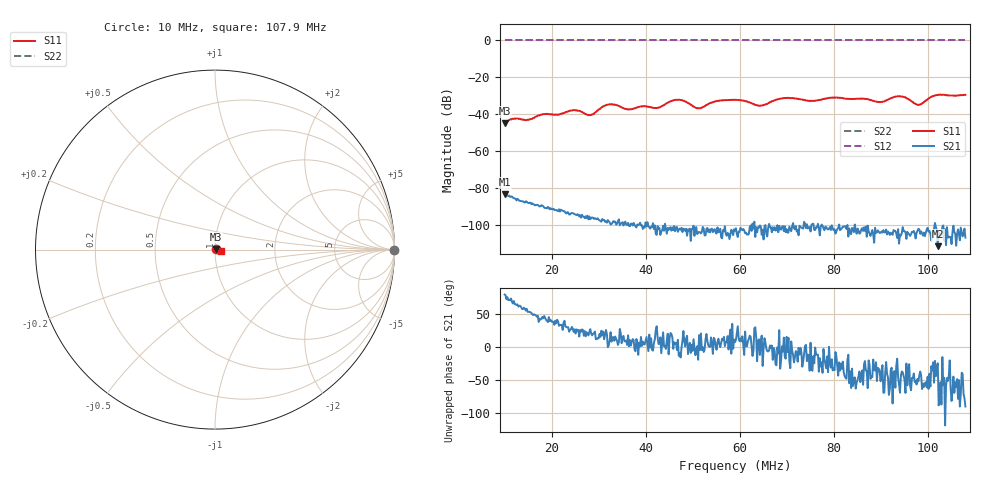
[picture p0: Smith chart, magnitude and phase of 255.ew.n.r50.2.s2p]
! Anritsu VNA Master:  Model: MS2036C/10/77
! SN:  1601066
! /card0/usr/255.ew.n.r50.2.s2p
! Existing Calibration Information:
! TYPE:  Current Settings,  Active Cal Settings
! TIME:  12/17/2017 06:54:16 PM,  12/17/2017 06:38:14 PM
! INTERNAL TEMP:  42.8 C,  43.8 C
! # POINTS:  501,  501
! START FREQ:  10.000 MHz,  10.000 MHz
! STOP FREQ:  107.903 125 MHz,  107.903 125 MHz
! SOURCE POWER:  High,  High
! IFBW:  100 Hz,  100 Hz
! AVG FACTOR:  1 ,  1
! REF PLANE 1:  0 mm,  0 mm
! REF PLANE 2:  0 mm,  0 mm
! CAL TYPE:  Full S11,  Full S11
! CAL METHOD:  SOLT,  SOLT
! CAL LINE TYPE:  Coax,  Coax
! DUT PORT 1:  N-Conn(F),  N-Conn(F)
! DUT PORT 2:  K-Conn(F),  K-Conn(F)
! CAL STATUS:  OK: Accuracy High,  --
# GHZ S DB R 50.0
! FREQ.GHZ  S11DB  S11A  S21DB  S21A  S12DB  S12A  S22DB  S22A
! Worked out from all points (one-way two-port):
!   501 points, 10 MHz to 107.9 MHz, reference 50 ohm
!   highest |S21| = -83.13 dB at 10 MHz (marker M1); lowest = -111.2 dB at 102 MHz (marker M2)
!   lowest |S11| = -44.8 dB at 10 MHz (marker M3), VSWR 1.01, Z = 50.4 + j0.396 ohm
!   |S11| at or under -10 dB: start of sweep to end of sweep
!   |S22| runs from 0.0 to 0.0 dB; largest |S21 - S12| = 1
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0.01  -44.79 42.9  -83.13 79.8  0.00 0.0  0.00 0.0
0.01841967  -39.82 51.3  -90.44 47.1  0.00 0.0  0.00 0.0
0.02468547  -37.65 52.0  -93.67 23.0  0.00 0.0  0.00 0.0
0.02644772  -38.71 57.6  -94.25 26.8  0.00 0.0  0.00 0.0
0.02840579  -40.23 39.2  -95.86 20.4  0.00 0.0  0.00 0.0
0.03251772  -34.51 43.1  -99.51 22.6  0.00 0.0  0.00 0.0
0.03623804  -37.25 46.5  -98.62 17.8  0.00 0.0  0.00 0.0
0.04269964  -36.28 29.2  -101.99 4.6  0.00 0.0  0.00 0.0
0.04641996  -32.13 34.1  -101.08 6.6  0.00 0.0  0.00 0.0
0.05131512  -36.61 33.6  -103.51 18.1  0.00 0.0  0.00 0.0
0.05503544  -32.81 21.8  -104.41 -4.2  0.00 0.0  0.00 0.0
0.05914737  -32.12 31.4  -101.55 10.8  0.00 0.0  0.00 0.0
0.06423833  -35.32 24.4  -100.03 -11.9  0.00 0.0  0.00 0.0
0.06972091  -31.08 15.2  -103.67 -17.8  0.00 0.0  0.00 0.0
0.07539929  -32.72 15.2  -99.22 -36.0  0.00 0.0  0.00 0.0
0.08009864  -30.92 11.9  -102.09 -35.0  0.00 0.0  0.00 0.0
0.08949734  -33.29 4.9  -103.43 -33.0  0.00 0.0  0.00 0.0
0.09165121  -31.74 -8.8  -104.03 -72.7  0.00 0.0  0.00 0.0
0.09439249  -30.25 4.0  -104.13 -37.1  0.00 0.0  0.00 0.0
0.09811281  -34.77 -11.6  -102.10 -43.1  0.00 0.0  0.00 0.0
0.1020289  -29.50 -20.8  -111.23 -24.7  0.00 0.0  0.00 0.0
0.1079031  -29.42 -14.0  -106.60 -90.4  0.00 0.0  0.00 0.0
